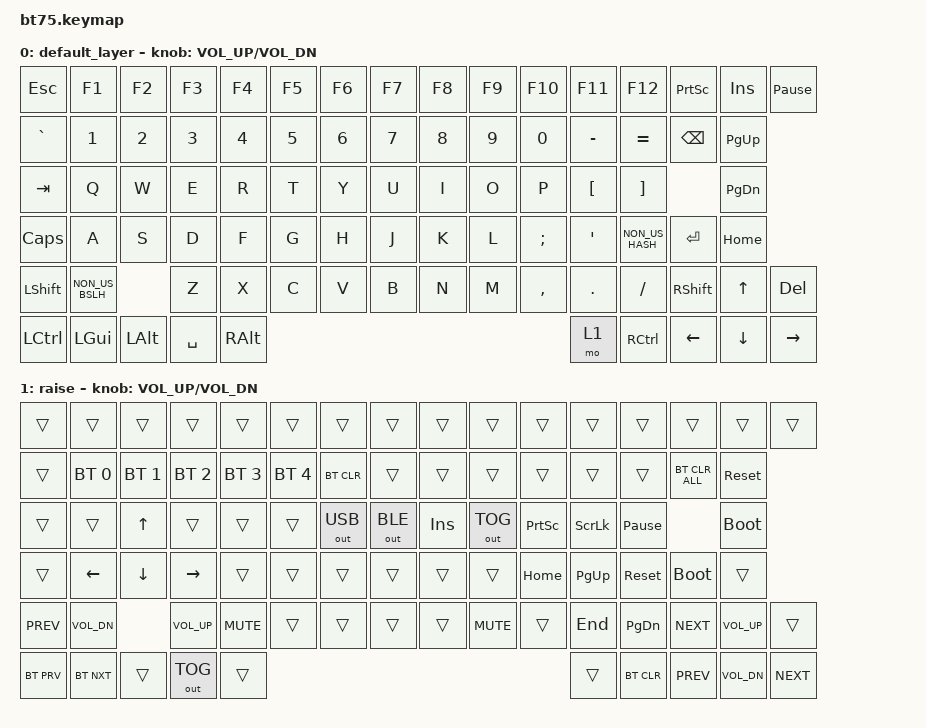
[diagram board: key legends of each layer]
#include <behaviors.dtsi>
#include <dt-bindings/zmk/keys.h>
#include <dt-bindings/zmk/bt.h>
#include <dt-bindings/zmk/outputs.h>

/ {
    keymap {
        compatible = "zmk,keymap";
        default_layer {
            bindings = <
                &kp ESC   &kp F1   &kp F2 &kp F3 &kp F4 &kp F5 &kp F6 &kp F7 &kp F8  &kp F9 &kp F10   &kp F11   &kp F12        &kp PSCRN &kp INS &kp PAUSE_BREAK
                &kp GRAVE &kp N1   &kp N2 &kp N3 &kp N4 &kp N5 &kp N6 &kp N7 &kp N8  &kp N9 &kp N0    &kp MINUS &kp EQUAL      &kp BSPC  &kp PG_UP
                &kp TAB   &kp Q    &kp W  &kp E  &kp R  &kp T  &kp Y  &kp U  &kp I   &kp O  &kp P     &kp LBKT  &kp RBKT                 &kp PG_DN
                &kp CLCK  &kp A    &kp S  &kp D  &kp F  &kp G  &kp H  &kp J  &kp K   &kp L  &kp SEMI  &kp SQT   &kp NON_US_HASH &kp RET  &kp HOME
                &kp LSHFT &kp NON_US_BSLH &kp Z &kp X &kp C &kp V &kp B &kp N &kp M  &kp COMMA &kp DOT &kp FSLH                &kp RSHFT &kp UP &kp DEL
                &kp LCTRL &kp LGUI &kp LALT             &kp SPACE                            &kp RALT &mo 1     &kp RCTRL      &kp LEFT &kp DOWN &kp RIGHT
            >;
            sensor-bindings = <&inc_dec_kp C_VOL_UP C_VOL_DN>;
        };
        raise {
            bindings = <
                &trans      &trans       &trans       &trans       &trans       &trans       &trans     &trans &trans &trans &trans &trans &trans                  &trans         &trans     &trans
                &trans      &bt BT_SEL 0 &bt BT_SEL 1 &bt BT_SEL 2 &bt BT_SEL 3 &bt BT_SEL 4 &bt BT_CLR &trans &trans &trans &trans &trans &trans                  &bt BT_CLR_ALL &sys_reset
                &trans      &trans       &kp UP       &trans       &trans       &trans       &out OUT_USB &out OUT_BLE &kp INS &out OUT_TOG &kp PSCRN &kp SLCK &kp PAUSE_BREAK                  &bootloader
                &trans      &kp LEFT     &kp DOWN     &kp RIGHT    &trans       &trans       &trans     &trans &trans  &trans &kp HOME  &kp PG_UP &sys_reset      &bootloader     &trans
                &kp C_PREV  &kp C_VOL_DN &kp C_VOL_UP &kp C_MUTE   &trans       &trans       &trans     &trans &kp C_MUTE  &trans &kp END   &kp PG_DN &kp C_NEXT                      &kp C_VOL_UP &trans
                &bt BT_PRV  &bt BT_NXT   &trans                                 &out OUT_TOG                                            &trans    &trans &bt BT_CLR                &kp C_PREV &kp C_VOL_DN &kp C_NEXT
            >;
            sensor-bindings = <&inc_dec_kp C_VOL_UP C_VOL_DN>;
        };
    };
};
